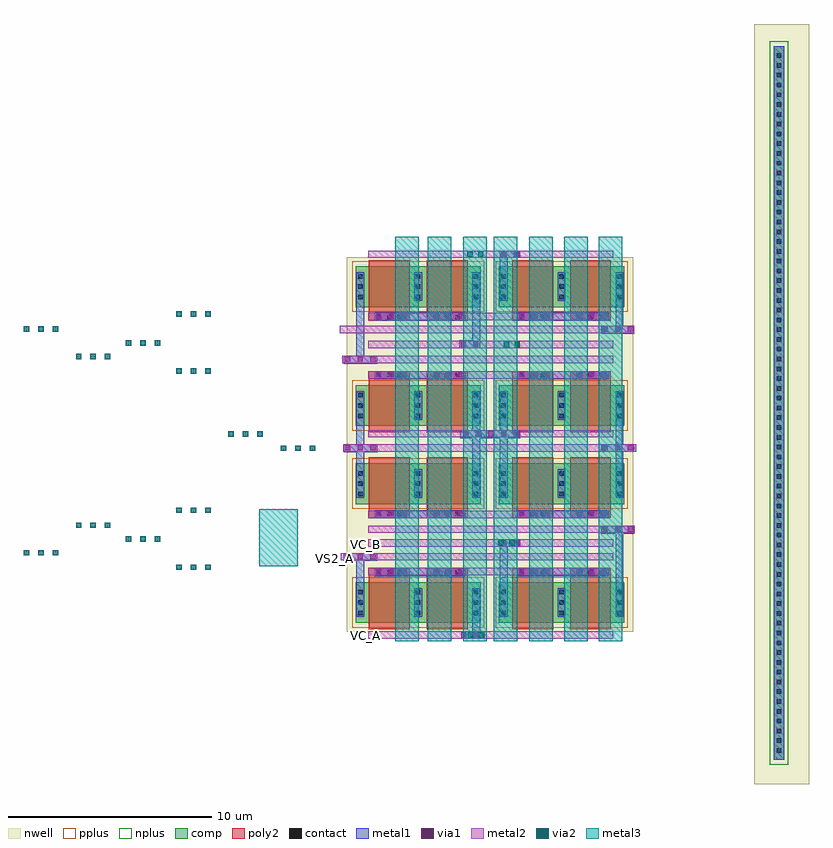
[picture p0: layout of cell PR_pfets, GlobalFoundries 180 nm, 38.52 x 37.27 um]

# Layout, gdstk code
import gdstk
lib = gdstk.Library(unit=1e-6, precision=1e-09)
def R(c, l, rs):  # rectangles x0, y0, x1, y1
    for r in rs: c.add(gdstk.rectangle(r[:2], r[2:], *l))
def A(c, l, x, y, w, h, nx, ny, dx, dy):  # array of equal rectangles
    R(c, l, [(x+i*dx, y+j*dy, x+i*dx+w, y+j*dy+h) for i in range(nx) for j in range(ny)])
nwell = (21, 0)
comp = (22, 0)
poly2 = (30, 0)
pplus = (31, 0)
nplus = (32, 0)
contact = (33, 0)
metal1 = (34, 0)
via1 = (35, 0)
metal2 = (36, 0)
via2 = (38, 0)
metal3 = (42, 0)

pfet_1 = lib.new_cell('pfet$1')
R(pfet_1, nwell, [(-0.9,-0.44,3.28,2.44)])
R(pfet_1, comp, [(-0.46,0,0,2), (0,0,2.38,2), (2.38,0,2.84,2)])
R(pfet_1, poly2, [(0.19,-0.3,2.19,2.3), (0.19,2.3,2.19,2.68)])
R(pfet_1, pplus, [(-0.63,-0.24,3.01,2.24)])
A(pfet_1, contact, -0.34, 0.38, 0.22, 0.22, 1, 3, 0, 0.51)
A(pfet_1, contact, 2.5, 0.38, 0.22, 0.22, 1, 3, 0, 0.51)
A(pfet_1, contact, 0.57, 2.38, 0.22, 0.22, 3, 1, 0.51, 0)
R(pfet_1, metal1, [(-0.42,0.3,-0.04,1.7), (2.42,0.3,2.8,1.7), (0.49,2.3,1.89,2.68)])

via_dev = lib.new_cell('via_dev')
R(via_dev, comp, [(0,0,0.5,35)])
A(via_dev, contact, 0.14, 0.35, 0.22, 0.22, 1, 72, 0, 0.48)
R(via_dev, metal1, [(0,0,0.5,35)])

pr_pfets = lib.new_cell('PR_pfets')
R(pr_pfets, nwell, [(19.1,-7.9,21.785,29.375), (-0.9,-0.44,13.15,17.93)])
R(pr_pfets, nplus, [(19.86,-6.945,20.755,28.53)])
R(pr_pfets, metal1, [(4.88,-0.77,5.88,-0.415), (5.26,-0.75,5.64,1.365), (-0.42,1.685,-0.04,3.425), (6.61,1.685,6.99,3.925), (12.29,1.695,12.67,4.515), (0.47,2.3,2.11,2.695), (2.065,2.3,3.295,2.695), (3.27,2.3,4.91,2.695), (7.49,2.3,9.13,2.695), (9.085,2.3,10.315,2.695), (10.29,2.3,11.93,2.695), (-1.05,3.045,0.59,3.425), (-1.05,3.045,0.59,3.425), (6.61,3.74,7.61,4.095), (11.585,4.38,13.21,4.76), (0.47,5.145,2.11,5.53), (2.065,5.145,3.335,5.53), (3.27,5.145,4.91,5.53), (7.49,5.145,9.13,5.53), (9.085,5.145,10.315,5.53), (10.29,5.145,11.93,5.53), (12.29,6.41,12.67,9.22), (-0.42,7.18,-0.04,8.76), (5.26,7.355,5.64,9.41), (6.61,7.355,6.99,9.41), (-0.42,8.265,-0.04,11.075), (-1.05,8.38,0.59,8.76), (-1.05,8.38,0.59,8.76), (11.575,8.39,13.21,8.77), (12.29,8.415,12.67,11.225), (4.67,9.065,7.625,9.445), (5.26,9.09,5.64,11.145), (6.61,9.09,6.99,11.145), (0.47,11.96,2.11,12.34), (2.065,11.96,3.295,12.34), (3.27,11.96,4.91,12.34), (7.49,11.96,9.13,12.34), (9.085,11.96,10.315,12.34), (10.29,11.96,11.93,12.34), (-1.05,12.72,0.59,13.1), (-1.05,12.72,0.59,13.1), (-0.42,12.925,-0.04,15.945), (4.62,13.475,5.64,13.865), (5.26,13.675,5.64,15.895), (11.575,14.195,13.21,14.575), (12.29,14.37,12.67,16.095), (0.47,14.81,2.11,15.23), (2.065,14.81,3.335,15.23), (3.27,14.81,4.91,15.23), (7.49,14.81,9.13,15.23), (9.085,14.81,10.315,15.23), (10.29,14.81,11.93,15.23), (6.61,15.955,6.99,18.175), (6.61,17.905,7.61,18.26)])
A(pr_pfets, via1, -0.98, 3.125, 0.26, 0.26, 3, 2, 0.62, 5.335)
A(pr_pfets, via1, 11.655, 4.46, 0.26, 0.26, 3, 1, 0.62, 0)
A(pr_pfets, via1, -0.98, 12.8, 0.26, 0.26, 3, 1, 0.62, 0)
A(pr_pfets, via1, 11.645, 14.275, 0.26, 0.26, 3, 1, 0.62, 0)
R(pr_pfets, via1, [(4.71,-0.725,4.97,-0.465), (4.71,-0.725,4.97,-0.465), (4.71,-0.725,4.97,-0.465), (4.71,-0.725,4.97,-0.465), (4.71,-0.725,4.97,-0.465), (4.71,-0.725,4.97,-0.465), (4.71,-0.725,4.97,-0.465), (4.71,-0.725,4.97,-0.465), (5.33,-0.725,5.59,-0.465), (5.33,-0.725,5.59,-0.465), (5.33,-0.725,5.59,-0.465), (5.33,-0.725,5.59,-0.465), (5.33,-0.725,5.59,-0.465), (5.33,-0.725,5.59,-0.465), (5.33,-0.725,5.59,-0.465), (5.33,-0.725,5.59,-0.465), (0.54,2.395,0.8,2.655), (0.54,2.395,0.8,2.655), (0.54,2.395,0.8,2.655), (0.54,2.395,0.8,2.655), (0.54,2.395,0.8,2.655), (0.54,2.395,0.8,2.655), (0.54,2.395,0.8,2.655), (0.54,2.395,0.8,2.655), (1.16,2.395,1.42,2.655), (1.16,2.395,1.42,2.655), (1.16,2.395,1.42,2.655), (1.16,2.395,1.42,2.655), (1.16,2.395,1.42,2.655), (1.16,2.395,1.42,2.655), (1.16,2.395,1.42,2.655), (1.16,2.395,1.42,2.655), (1.78,2.395,2.04,2.655), (1.78,2.395,2.04,2.655), (1.78,2.395,2.04,2.655), (1.78,2.395,2.04,2.655), (1.78,2.395,2.04,2.655), (1.78,2.395,2.04,2.655), (1.78,2.395,2.04,2.655), (1.78,2.395,2.04,2.655), (3.34,2.395,3.6,2.655), (3.34,2.395,3.6,2.655), (3.34,2.395,3.6,2.655), (3.34,2.395,3.6,2.655), (3.34,2.395,3.6,2.655), (3.34,2.395,3.6,2.655), (3.34,2.395,3.6,2.655), (3.34,2.395,3.6,2.655), (3.96,2.395,4.22,2.655), (3.96,2.395,4.22,2.655), (3.96,2.395,4.22,2.655), (3.96,2.395,4.22,2.655), (3.96,2.395,4.22,2.655), (3.96,2.395,4.22,2.655), (3.96,2.395,4.22,2.655), (3.96,2.395,4.22,2.655), (4.58,2.395,4.84,2.655), (4.58,2.395,4.84,2.655), (4.58,2.395,4.84,2.655), (4.58,2.395,4.84,2.655), (4.58,2.395,4.84,2.655), (4.58,2.395,4.84,2.655), (4.58,2.395,4.84,2.655), (4.58,2.395,4.84,2.655), (7.56,2.395,7.82,2.655), (7.56,2.395,7.82,2.655), (7.56,2.395,7.82,2.655), (7.56,2.395,7.82,2.655), (7.56,2.395,7.82,2.655), (7.56,2.395,7.82,2.655), (7.56,2.395,7.82,2.655), (7.56,2.395,7.82,2.655), (8.18,2.395,8.44,2.655), (8.18,2.395,8.44,2.655), (8.18,2.395,8.44,2.655), (8.18,2.395,8.44,2.655), (8.18,2.395,8.44,2.655), (8.18,2.395,8.44,2.655), (8.18,2.395,8.44,2.655), (8.18,2.395,8.44,2.655), (8.8,2.395,9.06,2.655), (8.8,2.395,9.06,2.655), (8.8,2.395,9.06,2.655), (8.8,2.395,9.06,2.655), (8.8,2.395,9.06,2.655), (8.8,2.395,9.06,2.655), (8.8,2.395,9.06,2.655), (8.8,2.395,9.06,2.655), (10.36,2.395,10.62,2.655), (10.36,2.395,10.62,2.655), (10.36,2.395,10.62,2.655), (10.36,2.395,10.62,2.655), (10.36,2.395,10.62,2.655), (10.36,2.395,10.62,2.655), (10.36,2.395,10.62,2.655), (10.36,2.395,10.62,2.655), (10.98,2.395,11.24,2.655), (10.98,2.395,11.24,2.655), (10.98,2.395,11.24,2.655), (10.98,2.395,11.24,2.655), (10.98,2.395,11.24,2.655), (10.98,2.395,11.24,2.655), (10.98,2.395,11.24,2.655), (10.98,2.395,11.24,2.655), (11.6,2.395,11.86,2.655), (11.6,2.395,11.86,2.655), (11.6,2.395,11.86,2.655), (11.6,2.395,11.86,2.655), (11.6,2.395,11.86,2.655), (11.6,2.395,11.86,2.655), (11.6,2.395,11.86,2.655), (11.6,2.395,11.86,2.655), (6.675,3.795,6.935,4.055), (6.675,3.795,6.935,4.055), (6.675,3.795,6.935,4.055), (6.675,3.795,6.935,4.055), (6.675,3.795,6.935,4.055), (6.675,3.795,6.935,4.055), (6.675,3.795,6.935,4.055), (6.675,3.795,6.935,4.055), (7.295,3.795,7.555,4.055), (7.295,3.795,7.555,4.055), (7.295,3.795,7.555,4.055), (7.295,3.795,7.555,4.055), (7.295,3.795,7.555,4.055), (7.295,3.795,7.555,4.055), (7.295,3.795,7.555,4.055), (7.295,3.795,7.555,4.055), (0.54,5.225,0.8,5.485), (0.54,5.225,0.8,5.485), (0.54,5.225,0.8,5.485), (0.54,5.225,0.8,5.485), (0.54,5.225,0.8,5.485), (0.54,5.225,0.8,5.485), (0.54,5.225,0.8,5.485), (0.54,5.225,0.8,5.485), (1.16,5.225,1.42,5.485), (1.16,5.225,1.42,5.485), (1.16,5.225,1.42,5.485), (1.16,5.225,1.42,5.485), (1.16,5.225,1.42,5.485), (1.16,5.225,1.42,5.485), (1.16,5.225,1.42,5.485), (1.16,5.225,1.42,5.485), (1.78,5.225,2.04,5.485), (1.78,5.225,2.04,5.485), (1.78,5.225,2.04,5.485), (1.78,5.225,2.04,5.485), (1.78,5.225,2.04,5.485), (1.78,5.225,2.04,5.485), (1.78,5.225,2.04,5.485), (1.78,5.225,2.04,5.485), (3.34,5.225,3.6,5.485), (3.34,5.225,3.6,5.485), (3.34,5.225,3.6,5.485), (3.34,5.225,3.6,5.485), (3.34,5.225,3.6,5.485), (3.34,5.225,3.6,5.485), (3.34,5.225,3.6,5.485), (3.34,5.225,3.6,5.485), (3.96,5.225,4.22,5.485), (3.96,5.225,4.22,5.485), (3.96,5.225,4.22,5.485), (3.96,5.225,4.22,5.485), (3.96,5.225,4.22,5.485), (3.96,5.225,4.22,5.485), (3.96,5.225,4.22,5.485), (3.96,5.225,4.22,5.485), (4.58,5.225,4.84,5.485), (4.58,5.225,4.84,5.485), (4.58,5.225,4.84,5.485), (4.58,5.225,4.84,5.485), (4.58,5.225,4.84,5.485), (4.58,5.225,4.84,5.485), (4.58,5.225,4.84,5.485), (4.58,5.225,4.84,5.485), (7.56,5.225,7.82,5.485), (7.56,5.225,7.82,5.485), (7.56,5.225,7.82,5.485), (7.56,5.225,7.82,5.485), (7.56,5.225,7.82,5.485), (7.56,5.225,7.82,5.485), (7.56,5.225,7.82,5.485), (7.56,5.225,7.82,5.485), (8.18,5.225,8.44,5.485), (8.18,5.225,8.44,5.485), (8.18,5.225,8.44,5.485), (8.18,5.225,8.44,5.485), (8.18,5.225,8.44,5.485), (8.18,5.225,8.44,5.485), (8.18,5.225,8.44,5.485), (8.18,5.225,8.44,5.485), (8.8,5.225,9.06,5.485), (8.8,5.225,9.06,5.485), (8.8,5.225,9.06,5.485), (8.8,5.225,9.06,5.485), (8.8,5.225,9.06,5.485), (8.8,5.225,9.06,5.485), (8.8,5.225,9.06,5.485), (8.8,5.225,9.06,5.485), (10.36,5.225,10.62,5.485), (10.36,5.225,10.62,5.485), (10.36,5.225,10.62,5.485), (10.36,5.225,10.62,5.485), (10.36,5.225,10.62,5.485), (10.36,5.225,10.62,5.485), (10.36,5.225,10.62,5.485), (10.36,5.225,10.62,5.485), (10.98,5.225,11.24,5.485), (10.98,5.225,11.24,5.485), (10.98,5.225,11.24,5.485), (10.98,5.225,11.24,5.485), (10.98,5.225,11.24,5.485), (10.98,5.225,11.24,5.485), (10.98,5.225,11.24,5.485), (10.98,5.225,11.24,5.485), (11.6,5.225,11.86,5.485), (11.6,5.225,11.86,5.485), (11.6,5.225,11.86,5.485), (11.6,5.225,11.86,5.485), (11.6,5.225,11.86,5.485), (11.6,5.225,11.86,5.485), (11.6,5.225,11.86,5.485), (11.6,5.225,11.86,5.485), (11.645,8.47,11.905,8.73), (11.645,8.47,11.905,8.73), (11.645,8.47,11.905,8.73), (11.645,8.47,11.905,8.73), (11.645,8.47,11.905,8.73), (11.645,8.47,11.905,8.73), (11.645,8.47,11.905,8.73), (11.645,8.47,11.905,8.73), (12.265,8.47,12.525,8.73), (12.265,8.47,12.525,8.73), (12.265,8.47,12.525,8.73), (12.265,8.47,12.525,8.73), (12.265,8.47,12.525,8.73), (12.265,8.47,12.525,8.73), (12.265,8.47,12.525,8.73), (12.265,8.47,12.525,8.73), (12.885,8.47,13.145,8.73), (12.885,8.47,13.145,8.73), (12.885,8.47,13.145,8.73), (12.885,8.47,13.145,8.73), (12.885,8.47,13.145,8.73), (12.885,8.47,13.145,8.73), (12.885,8.47,13.145,8.73), (12.885,8.47,13.145,8.73), (4.815,9.145,5.075,9.405), (4.815,9.145,5.075,9.405), (4.815,9.145,5.075,9.405), (4.815,9.145,5.075,9.405), (4.815,9.145,5.075,9.405), (4.815,9.145,5.075,9.405), (4.815,9.145,5.075,9.405), (4.815,9.145,5.075,9.405), (5.435,9.145,5.695,9.405), (5.435,9.145,5.695,9.405), (5.435,9.145,5.695,9.405), (5.435,9.145,5.695,9.405), (5.435,9.145,5.695,9.405), (5.435,9.145,5.695,9.405), (5.435,9.145,5.695,9.405), (5.435,9.145,5.695,9.405), (6.055,9.145,6.315,9.405), (6.055,9.145,6.315,9.405), (6.055,9.145,6.315,9.405), (6.055,9.145,6.315,9.405), (6.055,9.145,6.315,9.405), (6.055,9.145,6.315,9.405), (6.055,9.145,6.315,9.405), (6.055,9.145,6.315,9.405), (6.675,9.145,6.935,9.405), (6.675,9.145,6.935,9.405), (6.675,9.145,6.935,9.405), (6.675,9.145,6.935,9.405), (6.675,9.145,6.935,9.405), (6.675,9.145,6.935,9.405), (6.675,9.145,6.935,9.405), (6.675,9.145,6.935,9.405), (7.295,9.145,7.555,9.405), (7.295,9.145,7.555,9.405), (7.295,9.145,7.555,9.405), (7.295,9.145,7.555,9.405), (7.295,9.145,7.555,9.405), (7.295,9.145,7.555,9.405), (7.295,9.145,7.555,9.405), (7.295,9.145,7.555,9.405), (0.54,12.04,0.8,12.3), (0.54,12.04,0.8,12.3), (0.54,12.04,0.8,12.3), (0.54,12.04,0.8,12.3), (0.54,12.04,0.8,12.3), (0.54,12.04,0.8,12.3), (0.54,12.04,0.8,12.3), (0.54,12.04,0.8,12.3), (1.16,12.04,1.42,12.3), (1.16,12.04,1.42,12.3), (1.16,12.04,1.42,12.3), (1.16,12.04,1.42,12.3), (1.16,12.04,1.42,12.3), (1.16,12.04,1.42,12.3), (1.16,12.04,1.42,12.3), (1.16,12.04,1.42,12.3), (1.78,12.04,2.04,12.3), (1.78,12.04,2.04,12.3), (1.78,12.04,2.04,12.3), (1.78,12.04,2.04,12.3), (1.78,12.04,2.04,12.3), (1.78,12.04,2.04,12.3), (1.78,12.04,2.04,12.3), (1.78,12.04,2.04,12.3), (3.34,12.04,3.6,12.3), (3.34,12.04,3.6,12.3), (3.34,12.04,3.6,12.3), (3.34,12.04,3.6,12.3), (3.34,12.04,3.6,12.3), (3.34,12.04,3.6,12.3), (3.34,12.04,3.6,12.3), (3.34,12.04,3.6,12.3), (3.96,12.04,4.22,12.3), (3.96,12.04,4.22,12.3), (3.96,12.04,4.22,12.3), (3.96,12.04,4.22,12.3), (3.96,12.04,4.22,12.3), (3.96,12.04,4.22,12.3), (3.96,12.04,4.22,12.3), (3.96,12.04,4.22,12.3), (4.58,12.04,4.84,12.3), (4.58,12.04,4.84,12.3), (4.58,12.04,4.84,12.3), (4.58,12.04,4.84,12.3), (4.58,12.04,4.84,12.3), (4.58,12.04,4.84,12.3), (4.58,12.04,4.84,12.3), (4.58,12.04,4.84,12.3), (7.56,12.04,7.82,12.3), (7.56,12.04,7.82,12.3), (7.56,12.04,7.82,12.3), (7.56,12.04,7.82,12.3), (7.56,12.04,7.82,12.3), (7.56,12.04,7.82,12.3), (7.56,12.04,7.82,12.3), (7.56,12.04,7.82,12.3), (8.18,12.04,8.44,12.3), (8.18,12.04,8.44,12.3), (8.18,12.04,8.44,12.3), (8.18,12.04,8.44,12.3), (8.18,12.04,8.44,12.3), (8.18,12.04,8.44,12.3), (8.18,12.04,8.44,12.3), (8.18,12.04,8.44,12.3), (8.8,12.04,9.06,12.3), (8.8,12.04,9.06,12.3), (8.8,12.04,9.06,12.3), (8.8,12.04,9.06,12.3), (8.8,12.04,9.06,12.3), (8.8,12.04,9.06,12.3), (8.8,12.04,9.06,12.3), (8.8,12.04,9.06,12.3), (10.36,12.04,10.62,12.3), (10.36,12.04,10.62,12.3), (10.36,12.04,10.62,12.3), (10.36,12.04,10.62,12.3), (10.36,12.04,10.62,12.3), (10.36,12.04,10.62,12.3), (10.36,12.04,10.62,12.3), (10.36,12.04,10.62,12.3), (10.98,12.04,11.24,12.3), (10.98,12.04,11.24,12.3), (10.98,12.04,11.24,12.3), (10.98,12.04,11.24,12.3), (10.98,12.04,11.24,12.3), (10.98,12.04,11.24,12.3), (10.98,12.04,11.24,12.3), (10.98,12.04,11.24,12.3), (11.6,12.04,11.86,12.3), (11.6,12.04,11.86,12.3), (11.6,12.04,11.86,12.3), (11.6,12.04,11.86,12.3), (11.6,12.04,11.86,12.3), (11.6,12.04,11.86,12.3), (11.6,12.04,11.86,12.3), (11.6,12.04,11.86,12.3), (4.685,13.555,4.945,13.815), (4.685,13.555,4.945,13.815), (4.685,13.555,4.945,13.815), (4.685,13.555,4.945,13.815), (4.685,13.555,4.945,13.815), (4.685,13.555,4.945,13.815), (4.685,13.555,4.945,13.815), (4.685,13.555,4.945,13.815), (5.305,13.555,5.565,13.815), (5.305,13.555,5.565,13.815), (5.305,13.555,5.565,13.815), (5.305,13.555,5.565,13.815), (5.305,13.555,5.565,13.815), (5.305,13.555,5.565,13.815), (5.305,13.555,5.565,13.815), (5.305,13.555,5.565,13.815), (0.54,14.93,0.8,15.19), (0.54,14.93,0.8,15.19), (0.54,14.93,0.8,15.19), (0.54,14.93,0.8,15.19), (0.54,14.93,0.8,15.19), (0.54,14.93,0.8,15.19), (0.54,14.93,0.8,15.19), (0.54,14.93,0.8,15.19), (1.16,14.93,1.42,15.19), (1.16,14.93,1.42,15.19), (1.16,14.93,1.42,15.19), (1.16,14.93,1.42,15.19), (1.16,14.93,1.42,15.19), (1.16,14.93,1.42,15.19), (1.16,14.93,1.42,15.19), (1.16,14.93,1.42,15.19), (1.78,14.93,2.04,15.19), (1.78,14.93,2.04,15.19), (1.78,14.93,2.04,15.19), (1.78,14.93,2.04,15.19), (1.78,14.93,2.04,15.19), (1.78,14.93,2.04,15.19), (1.78,14.93,2.04,15.19), (1.78,14.93,2.04,15.19), (3.34,14.93,3.6,15.19), (3.34,14.93,3.6,15.19), (3.34,14.93,3.6,15.19), (3.34,14.93,3.6,15.19), (3.34,14.93,3.6,15.19), (3.34,14.93,3.6,15.19), (3.34,14.93,3.6,15.19), (3.34,14.93,3.6,15.19), (3.96,14.93,4.22,15.19), (3.96,14.93,4.22,15.19), (3.96,14.93,4.22,15.19), (3.96,14.93,4.22,15.19), (3.96,14.93,4.22,15.19), (3.96,14.93,4.22,15.19), (3.96,14.93,4.22,15.19), (3.96,14.93,4.22,15.19), (4.58,14.93,4.84,15.19), (4.58,14.93,4.84,15.19), (4.58,14.93,4.84,15.19), (4.58,14.93,4.84,15.19), (4.58,14.93,4.84,15.19), (4.58,14.93,4.84,15.19), (4.58,14.93,4.84,15.19), (4.58,14.93,4.84,15.19), (7.56,14.93,7.82,15.19), (7.56,14.93,7.82,15.19), (7.56,14.93,7.82,15.19), (7.56,14.93,7.82,15.19), (7.56,14.93,7.82,15.19), (7.56,14.93,7.82,15.19), (7.56,14.93,7.82,15.19), (7.56,14.93,7.82,15.19), (8.18,14.93,8.44,15.19), (8.18,14.93,8.44,15.19), (8.18,14.93,8.44,15.19), (8.18,14.93,8.44,15.19), (8.18,14.93,8.44,15.19), (8.18,14.93,8.44,15.19), (8.18,14.93,8.44,15.19), (8.18,14.93,8.44,15.19), (8.8,14.93,9.06,15.19), (8.8,14.93,9.06,15.19), (8.8,14.93,9.06,15.19), (8.8,14.93,9.06,15.19), (8.8,14.93,9.06,15.19), (8.8,14.93,9.06,15.19), (8.8,14.93,9.06,15.19), (8.8,14.93,9.06,15.19), (10.36,14.93,10.62,15.19), (10.36,14.93,10.62,15.19), (10.36,14.93,10.62,15.19), (10.36,14.93,10.62,15.19), (10.36,14.93,10.62,15.19), (10.36,14.93,10.62,15.19), (10.36,14.93,10.62,15.19), (10.36,14.93,10.62,15.19), (10.98,14.93,11.24,15.19), (10.98,14.93,11.24,15.19), (10.98,14.93,11.24,15.19), (10.98,14.93,11.24,15.19), (10.98,14.93,11.24,15.19), (10.98,14.93,11.24,15.19), (10.98,14.93,11.24,15.19), (10.98,14.93,11.24,15.19), (11.6,14.93,11.86,15.19), (11.6,14.93,11.86,15.19), (11.6,14.93,11.86,15.19), (11.6,14.93,11.86,15.19), (11.6,14.93,11.86,15.19), (11.6,14.93,11.86,15.19), (11.6,14.93,11.86,15.19), (11.6,14.93,11.86,15.19), (6.68,17.95,6.94,18.21), (6.68,17.95,6.94,18.21), (6.68,17.95,6.94,18.21), (6.68,17.95,6.94,18.21), (6.68,17.95,6.94,18.21), (6.68,17.95,6.94,18.21), (6.68,17.95,6.94,18.21), (6.68,17.95,6.94,18.21), (7.3,17.95,7.56,18.21), (7.3,17.95,7.56,18.21), (7.3,17.95,7.56,18.21), (7.3,17.95,7.56,18.21), (7.3,17.95,7.56,18.21), (7.3,17.95,7.56,18.21), (7.3,17.95,7.56,18.21), (7.3,17.95,7.56,18.21)])
R(pr_pfets, metal2, [(0.15,-0.77,6.73,-0.415), (6.61,-0.77,12.185,-0.415), (0.17,2.34,11.99,2.695), (-1.195,3.065,12.185,3.42), (0.15,3.74,6.73,4.095), (6.61,3.74,12.185,4.095), (0.15,4.415,13.225,4.77), (0.17,5.145,11.99,5.5), (-1.075,8.4,13.3,8.755), (0.15,9.095,12.185,9.45), (0.17,11.985,11.99,12.34), (-1.115,12.74,12.185,13.095), (0.15,13.475,6.64,13.83), (6.61,13.475,12.185,13.83), (-1.245,14.215,13.215,14.57), (0.17,14.85,11.99,15.205), (0.15,17.905,6.73,18.26), (6.61,17.905,12.185,18.26)])
A(pr_pfets, via2, -9.25, 2.6, 0.26, 0.26, 3, 2, 0.71, 2.8)
A(pr_pfets, via2, -16.735, 3.315, 0.26, 0.26, 3, 2, 0.71, 10.975)
A(pr_pfets, via2, -11.73, 3.99, 0.26, 0.26, 3, 2, 0.71, 9.615)
A(pr_pfets, via2, -14.175, 4.665, 0.26, 0.26, 3, 2, 0.71, 8.275)
A(pr_pfets, via2, -4.13, 8.44, 0.26, 0.26, 3, 1, 0.71, 0)
A(pr_pfets, via2, -6.7, 9.135, 0.26, 0.26, 3, 1, 0.71, 0)
A(pr_pfets, via2, -9.25, 12.22, 0.26, 0.26, 3, 2, 0.71, 2.805)
R(pr_pfets, via2, [(5.04,-0.72,5.3,-0.46), (5.04,-0.72,5.3,-0.46), (5.57,-0.72,5.83,-0.46), (5.57,-0.72,5.83,-0.46), (6.545,3.795,6.805,4.055), (6.545,3.795,6.805,4.055), (7.075,3.795,7.335,4.055), (7.075,3.795,7.335,4.055), (6.81,13.52,7.07,13.78), (6.81,13.52,7.07,13.78), (7.34,13.52,7.6,13.78), (7.34,13.52,7.6,13.78), (5.015,17.955,5.275,18.215), (5.015,17.955,5.275,18.215), (5.545,17.955,5.805,18.215), (5.545,17.955,5.805,18.215)])
R(pr_pfets, metal3, [(1.495,-0.91,2.645,18.945), (3.08,-0.91,4.23,18.945), (4.825,-0.91,5.975,18.945), (6.31,-0.91,7.46,18.945), (8.05,-0.91,9.2,18.945), (9.765,-0.91,10.915,18.945), (11.475,-0.91,12.625,18.945), (-5.185,2.775,-3.29,5.57)])
pr_pfets.add(gdstk.Reference(pfet_1, (0,7.83), x_reflection=True))
pr_pfets.add(gdstk.Reference(pfet_1, (2.84,7.83), x_reflection=True))
pr_pfets.add(gdstk.Reference(pfet_1, (7.03,7.83), x_reflection=True))
pr_pfets.add(gdstk.Reference(pfet_1, (9.87,7.83), x_reflection=True))
pr_pfets.add(gdstk.Reference(pfet_1, (0,0)))
pr_pfets.add(gdstk.Reference(pfet_1, (2.84,0)))
pr_pfets.add(gdstk.Reference(pfet_1, (9.87,0)))
pr_pfets.add(gdstk.Reference(pfet_1, (0,17.49), x_reflection=True))
pr_pfets.add(gdstk.Reference(pfet_1, (2.84,17.49), x_reflection=True))
pr_pfets.add(gdstk.Reference(pfet_1, (7.03,17.49), x_reflection=True))
pr_pfets.add(gdstk.Reference(pfet_1, (9.87,17.49), x_reflection=True))
pr_pfets.add(gdstk.Reference(pfet_1, (0,9.66)))
pr_pfets.add(gdstk.Reference(pfet_1, (2.84,9.66)))
pr_pfets.add(gdstk.Reference(pfet_1, (7.03,9.66)))
pr_pfets.add(gdstk.Reference(pfet_1, (9.87,9.66)))
pr_pfets.add(gdstk.Reference(via_dev, (20.05,-6.715)))
pr_pfets.add(gdstk.Reference(pfet_1, (7.03,0)))
pr_pfets.add(gdstk.Label('VC_A', (0.025,-0.64), layer=36, texttype=0))
pr_pfets.add(gdstk.Label('VC_B', (0.01,3.87), layer=36, texttype=0))
pr_pfets.add(gdstk.Label('VS2_A', (-1.49,3.16), layer=36, texttype=0))
pr_pfets.add(gdstk.Label('VS2_B', (-0.15,4.555), layer=36, texttype=0))

lib.write_gds('PR_pfets.gds')
